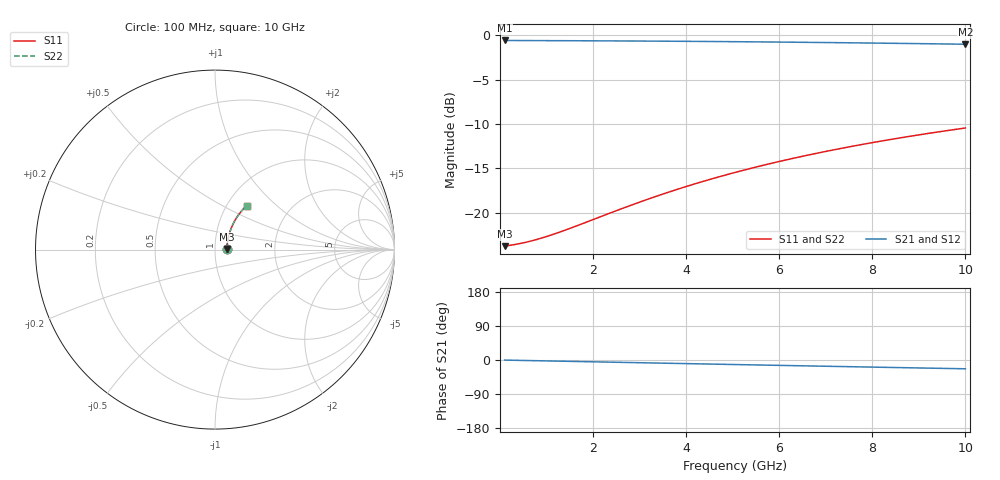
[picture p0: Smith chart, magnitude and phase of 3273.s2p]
# Hz S RI R 50.00
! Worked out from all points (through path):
!   100 points, 100 MHz to 10 GHz, reference 50 ohm
!   highest |S21| = -0.58 dB at 100 MHz (marker M1); lowest = -1.0 dB at 10 GHz (marker M2)
!   group delay of S21, straight-line fit = 6.45 ps
!   lowest |S11| = -23.8 dB at 100 MHz (marker M3), VSWR 1.14, Z = 56.9 + j0.325 ohm
!   |S11| at or under -10 dB: start of sweep to end of sweep
!   |S22| runs from -23.8 to -10.5 dB; largest |S21 - S12| = 0
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1e8  0.0647 0.00285  0.9353 -0.00391  0.9353 -0.00391  0.0647 0.00285
3e8  0.0655 0.00853  0.9345 -0.0117  0.9345 -0.0117  0.0655 0.00853
5e8  0.0661 0.0142  0.9339 -0.0195  0.9339 -0.0195  0.0661 0.0142
8e8  0.067 0.0227  0.9329 -0.0312  0.9329 -0.0312  0.067 0.0227
1e9  0.0677 0.0283  0.9322 -0.0389  0.9322 -0.0389  0.0677 0.0283
1.2e9  0.0684 0.0339  0.9315 -0.0467  0.9315 -0.0467  0.0684 0.0339
1.5e9  0.0697 0.0423  0.9302 -0.0583  0.9302 -0.0583  0.0697 0.0423
1.8e9  0.0711 0.0507  0.9287 -0.0698  0.9287 -0.0698  0.0711 0.0507
2.7e9  0.0764 0.0755  0.9232 -0.1042  0.9232 -0.1042  0.0764 0.0755
3.1e9  0.0793 0.0863  0.9202 -0.1193  0.9202 -0.1193  0.0793 0.0863
3.4e9  0.0816 0.0943  0.9177 -0.1306  0.9177 -0.1306  0.0816 0.0943
3.8e9  0.0851 0.1049  0.914 -0.1454  0.914 -0.1454  0.0851 0.1049
4.2e9  0.0889 0.1154  0.91 -0.1602  0.91 -0.1602  0.0889 0.1154
4.6e9  0.093 0.1257  0.9057 -0.1748  0.9057 -0.1748  0.093 0.1257
5.1e9  0.0986 0.1383  0.8998 -0.1927  0.8998 -0.1927  0.0986 0.1383
5.5e9  0.1035 0.1482  0.8947 -0.2069  0.8947 -0.2069  0.1035 0.1482
5.9e9  0.1086 0.1579  0.8893 -0.2209  0.8893 -0.2209  0.1086 0.1579
6.7e9  0.1196 0.1766  0.8777 -0.2482  0.8777 -0.2482  0.1196 0.1766
7.5e9  0.1318 0.1945  0.8648 -0.2746  0.8648 -0.2746  0.1318 0.1945
8.4e9  0.1466 0.2133  0.8492 -0.3031  0.8492 -0.3031  0.1466 0.2133
9.2e9  0.1607 0.229  0.8343 -0.3274  0.8343 -0.3274  0.1607 0.229
1e10  0.1755 0.2436  0.8185 -0.3506  0.8185 -0.3506  0.1755 0.2436
